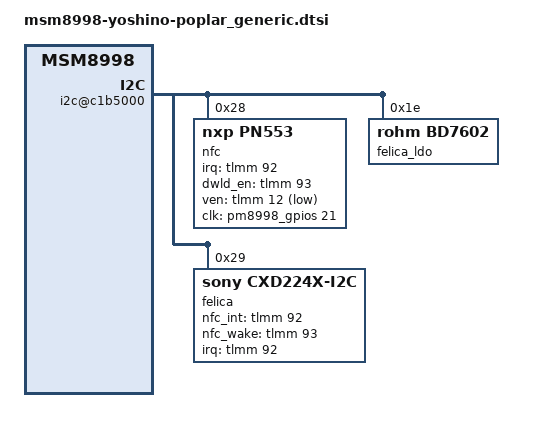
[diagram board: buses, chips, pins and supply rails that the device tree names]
/* arch/arm64/boot/dts/qcom/msm8998-poplar_generic.dtsi
 *
 * This program is free software; you can redistribute it and/or modify
 * it under the terms of the GNU General Public License version 2 and
 * only version 2 as published by the Free Software Foundation.
 *
 * This program is distributed in the hope that it will be useful,
 * but WITHOUT ANY WARRANTY; without even the implied warranty of
 * MERCHANTABILITY or FITNESS FOR A PARTICULAR PURPOSE.  See the
 * GNU General Public License for more details.
 */
/*
 * Copyright (C) 2016 Sony Mobile Communications Inc.
 *
 * This program is free software; you can redistribute it and/or modify
 * it under the terms of the GNU General Public License version 2, as
 * published by the Free Software Foundation.
 */

#include "msm8998-yoshino-poplar_common.dtsi"

/*
 * BOTH NFC controllers are described here: one kernel serves the G8341/G8342
 * (NXP PN553) and the Japanese SO-01K / SOV36 / 701SO (Sony CXD224x + ROHM
 * BD7602 FeliCa). The poplar_kddi DTB cannot be auto-selected — it declares the
 * same qcom,board-id = <8 0> as this one.
 *
 * Only safe because both drivers are MODULES and exactly one is loaded per boot
 * by init.poplar-nfc.sh. Do not make either =y: the nodes share GPIO 92 (IRQ)
 * and 93, and neither probe checks its chip is on the bus, so built-in they
 * would race for the pins. Same design as lilac (G8441 / SO-02K).
 */

&soc {
	/* I2C : BLSP7 */
	i2c@c1b5000 { /* BLSP2 QUP1 */
		nfc@28 {
			compatible = "nxp,pn553";
			reg = <0x28>;
			interrupt-parent = <&tlmm>;
			interrupts = <92 0x1>;
			nxp,irq_gpio = <&tlmm 92 0x00>;
			nxp,dwld_en = <&tlmm 93 0x00>;
			nxp,ven = <&tlmm 12 0x01>;
			qcom,clk-src = "BBCLK2";
			qcom,clk-gpio = <&pm8998_gpios 21 0x00>;
			clocks = <&clock_gcc clk_ln_bb_clk3_pin>;
			clock-names = "nfc_clk";
		};

		/* Japanese variants (SO-01K / SOV36 / 701SO): ROHM BD7602 FeliCa LDO + Sony CXD224x */
		felica_ldo@1e {
			compatible = "rohm,bd7602";
			reg = <0x1e>;
		};
		felica@29 {
			compatible = "sony,cxd224x-i2c";
			reg = <0x29>;
			interrupt-parent = <&tlmm>;
			interrupts = <92 0x2002>;
			sony,nfc_int = <&tlmm 92 0>;
			sony,nfc_wake = <&tlmm 93 0>;

			/*
			 * Sony's JP boards (poplar_jp-common, lilac_dcm) run GPIO 92 with
			 * bias-disable; the ROW msm_gpio_92 default below pulls it down.
			 * cxd224x selects these states itself at probe/resume, so the JP
			 * bias applies only once the FeliCa driver is loaded.
			 */
			pinctrl-names = "felica_active","felica_suspend";
			pinctrl-0 = <&msm_gpio_92_felica>;
			pinctrl-1 = <&msm_gpio_92_felica>;

			/* Defined in Clock Distribution */
			clocks = <&clock_gcc clk_ln_bb_clk3_pin>;
			clock-names = "felica_clk";
		};
	};

	nfc,pm-ops {
		compatible = "sony,pn553-pm-ops";
	};

	felica,pm-ops {
		compatible = "sony,cxd224x-pm-ops";
	};

	somc_pinctrl: somc_pinctrl {
		/* If variant specific default setting is needed,
		fill pinctrl-2 value in <variant>.dtsi */
		pinctrl-2 = <&msm_gpio_92>;
	};
};

&tlmm {
	/* GPIO_92 : NFC_IRQ_FELICA_INT_N */
	msm_gpio_92: msm_gpio_92 {
		mux {
			pins = "gpio92";
			function = "gpio";
		};

		config {
			pins = "gpio92";
			drive-strength = <2>;
			bias-pull-down;
			input-enable;
		};
	};

	/* GPIO_92 as Sony's JP boards configure it (msm8998-yoshino-poplar_jp-common.dtsi) */
	msm_gpio_92_felica: msm_gpio_92_felica {
		mux {
			pins = "gpio92";
			function = "gpio";
		};

		config {
			pins = "gpio92";
			drive-strength = <2>;
			bias-disable;
			input-enable;
		};
	};
};
